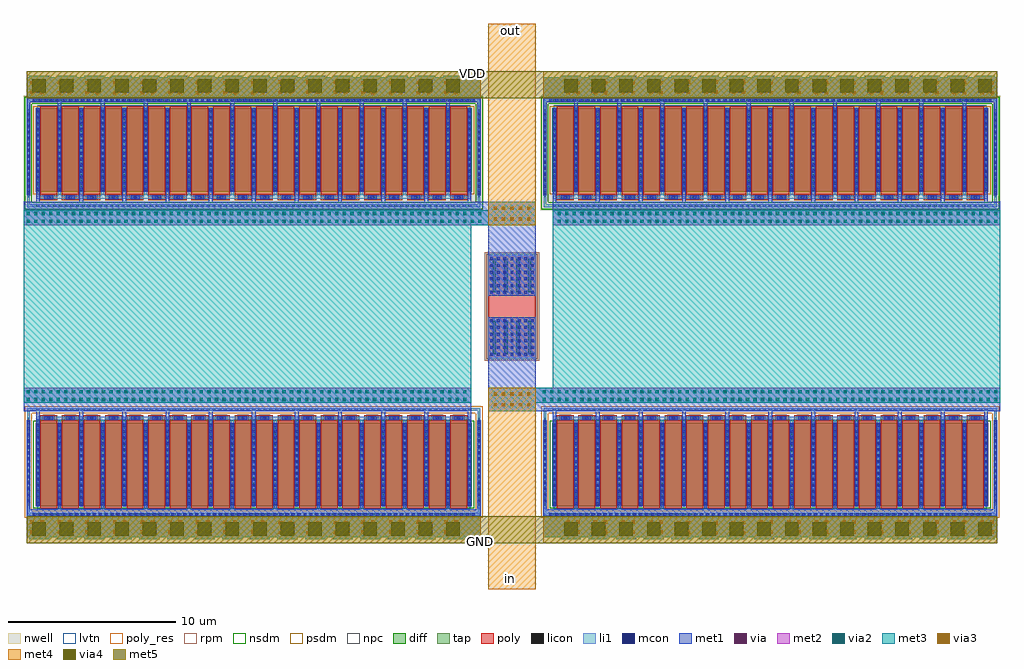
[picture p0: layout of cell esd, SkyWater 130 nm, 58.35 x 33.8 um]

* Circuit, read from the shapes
.subckt esd GND VDD in out
XM1 GND GND out GND sky130_fd_pr__nfet_01v8_lvt w=5 l=1 m=20
XM2 GND GND in GND sky130_fd_pr__nfet_01v8_lvt w=5 l=1 m=20
XM3 VDD VDD out VDD sky130_fd_pr__pfet_01v8_lvt w=5 l=1 m=20
XM4 VDD VDD in VDD sky130_fd_pr__pfet_01v8_lvt w=5 l=1 m=20
XR5 out in GND sky130_fd_pr__res_high_po w=2.85 l=1.3
.ends

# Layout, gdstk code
import gdstk
lib = gdstk.Library(unit=1e-6, precision=1e-09)
def R(c, l, rs):  # rectangles x0, y0, x1, y1
    for r in rs: c.add(gdstk.rectangle(r[:2], r[2:], *l))
def A(c, l, x, y, w, h, nx, ny, dx, dy):  # array of equal rectangles
    R(c, l, [(x+i*dx, y+j*dy, x+i*dx+w, y+j*dy+h) for i in range(nx) for j in range(ny)])
nwell = (64, 20)
diff = (65, 20)
tap = (65, 44)
poly_res = (66, 13)
poly = (66, 20)
licon = (66, 44)
li1 = (67, 20)
mcon = (67, 44)
met1 = (68, 20)
via = (68, 44)
met2 = (69, 20)
via2 = (69, 44)
met3 = (70, 20)
via3 = (70, 44)
met4 = (71, 20)
via4 = (71, 44)
met5 = (72, 20)
rpm = (86, 20)
nsdm = (93, 44)
psdm = (94, 20)
npc = (95, 20)
lvtn = (125, 44)

esd = lib.new_cell('esd')
R(esd, nwell, [(58.15,80,85.62,86.84), (89.03,80,116.5,86.84)])
R(esd, diff, [(58.84,62.305,84.93,67.305), (89.72,62.305,115.81,67.305), (58.84,81.1,84.93,86.1), (89.72,81.1,115.81,86.1)])
R(esd, tap, [(58.33,61.745,85.44,61.915), (89.21,61.745,116.32,61.915), (58.33,61.915,58.5,68.005), (85.27,61.915,85.44,68.005), (89.21,61.915,89.38,68.005), (116.15,61.915,116.32,68.005), (58.33,68.005,85.44,68.175), (89.21,68.005,116.32,68.175), (58.33,80.18,85.44,80.35), (89.21,80.18,116.32,80.35), (58.33,80.35,58.5,86.49), (85.27,80.35,85.44,86.49), (89.21,80.35,89.38,86.49), (116.15,80.35,116.32,86.49), (58.33,86.49,85.44,86.66), (89.21,86.49,116.32,86.66)])
R(esd, poly_res, [(85.9,73.54,88.75,74.96)])
A(esd, poly, 59.13, 62.175, 1, 5.57, 20, 1, 1.29, 0)
A(esd, poly, 90.01, 62.175, 1, 5.57, 20, 1, 1.29, 0)
A(esd, poly, 59.13, 80.615, 1, 5.615, 20, 1, 1.29, 0)
A(esd, poly, 90.01, 80.615, 1, 5.615, 20, 1, 1.29, 0)
R(esd, poly, [(85.9,71.2,88.75,77.3)])
A(esd, licon, 58.88, 61.745, 0.17, 0.17, 77, 2, 0.34, 6.26)
A(esd, licon, 89.76, 61.745, 0.17, 0.17, 77, 2, 0.34, 6.26)
A(esd, licon, 58.33, 62.325, 0.17, 0.17, 1, 16, 0, 0.34)
A(esd, licon, 85.27, 62.325, 0.17, 0.17, 1, 16, 0, 0.34)
A(esd, licon, 89.21, 62.325, 0.17, 0.17, 1, 16, 0, 0.34)
A(esd, licon, 116.15, 62.325, 0.17, 0.17, 1, 16, 0, 0.34)
A(esd, licon, 58.9, 62.51, 0.17, 0.17, 21, 14, 1.29, 0.34)
A(esd, licon, 89.78, 62.51, 0.17, 0.17, 21, 14, 1.29, 0.34)
A(esd, licon, 86.165, 71.4, 0.19, 2, 4, 2, 0.71, 3.7)
A(esd, licon, 58.88, 80.18, 0.17, 0.17, 77, 2, 0.34, 6.31)
A(esd, licon, 89.76, 80.18, 0.17, 0.17, 77, 2, 0.34, 6.31)
A(esd, licon, 58.33, 80.785, 0.17, 0.17, 1, 16, 0, 0.34)
A(esd, licon, 85.27, 80.785, 0.17, 0.17, 1, 16, 0, 0.34)
A(esd, licon, 89.21, 80.785, 0.17, 0.17, 1, 16, 0, 0.34)
A(esd, licon, 116.15, 80.785, 0.17, 0.17, 1, 16, 0, 0.34)
A(esd, licon, 58.9, 81.305, 0.17, 0.17, 21, 14, 1.29, 0.34)
A(esd, licon, 89.78, 81.305, 0.17, 0.17, 21, 14, 1.29, 0.34)
R(esd, licon, [(59.375,67.495,59.545,67.665), (59.715,67.495,59.885,67.665), (60.665,67.495,60.835,67.665), (61.005,67.495,61.175,67.665), (61.955,67.495,62.125,67.665), (62.295,67.495,62.465,67.665), (63.245,67.495,63.415,67.665), (63.585,67.495,63.755,67.665), (64.535,67.495,64.705,67.665), (64.875,67.495,65.045,67.665), (65.825,67.495,65.995,67.665), (66.165,67.495,66.335,67.665), (67.115,67.495,67.285,67.665), (67.455,67.495,67.625,67.665), (68.405,67.495,68.575,67.665), (68.745,67.495,68.915,67.665), (69.695,67.495,69.865,67.665), (70.035,67.495,70.205,67.665), (70.985,67.495,71.155,67.665), (71.325,67.495,71.495,67.665), (72.275,67.495,72.445,67.665), (72.615,67.495,72.785,67.665), (73.565,67.495,73.735,67.665), (73.905,67.495,74.075,67.665), (74.855,67.495,75.025,67.665), (75.195,67.495,75.365,67.665), (76.145,67.495,76.315,67.665), (76.485,67.495,76.655,67.665), (77.435,67.495,77.605,67.665), (77.775,67.495,77.945,67.665), (78.725,67.495,78.895,67.665), (79.065,67.495,79.235,67.665), (80.015,67.495,80.185,67.665), (80.355,67.495,80.525,67.665), (81.305,67.495,81.475,67.665), (81.645,67.495,81.815,67.665), (82.595,67.495,82.765,67.665), (82.935,67.495,83.105,67.665), (83.885,67.495,84.055,67.665), (84.225,67.495,84.395,67.665), (90.255,67.495,90.425,67.665), (90.595,67.495,90.765,67.665), (91.545,67.495,91.715,67.665), (91.885,67.495,92.055,67.665), (92.835,67.495,93.005,67.665), (93.175,67.495,93.345,67.665), (94.125,67.495,94.295,67.665), (94.465,67.495,94.635,67.665), (95.415,67.495,95.585,67.665), (95.755,67.495,95.925,67.665), (96.705,67.495,96.875,67.665), (97.045,67.495,97.215,67.665), (97.995,67.495,98.165,67.665), (98.335,67.495,98.505,67.665), (99.285,67.495,99.455,67.665), (99.625,67.495,99.795,67.665), (100.575,67.495,100.745,67.665), (100.915,67.495,101.085,67.665), (101.865,67.495,102.035,67.665), (102.205,67.495,102.375,67.665), (103.155,67.495,103.325,67.665), (103.495,67.495,103.665,67.665), (104.445,67.495,104.615,67.665), (104.785,67.495,104.955,67.665), (105.735,67.495,105.905,67.665), (106.075,67.495,106.245,67.665), (107.025,67.495,107.195,67.665), (107.365,67.495,107.535,67.665), (108.315,67.495,108.485,67.665), (108.655,67.495,108.825,67.665), (109.605,67.495,109.775,67.665), (109.945,67.495,110.115,67.665), (110.895,67.495,111.065,67.665), (111.235,67.495,111.405,67.665), (112.185,67.495,112.355,67.665), (112.525,67.495,112.695,67.665), (113.475,67.495,113.645,67.665), (113.815,67.495,113.985,67.665), (114.765,67.495,114.935,67.665), (115.105,67.495,115.275,67.665), (59.375,80.695,59.545,80.865), (59.715,80.695,59.885,80.865), (60.665,80.695,60.835,80.865), (61.005,80.695,61.175,80.865), (61.955,80.695,62.125,80.865), (62.295,80.695,62.465,80.865), (63.245,80.695,63.415,80.865), (63.585,80.695,63.755,80.865), (64.535,80.695,64.705,80.865), (64.875,80.695,65.045,80.865), (65.825,80.695,65.995,80.865), (66.165,80.695,66.335,80.865), (67.115,80.695,67.285,80.865), (67.455,80.695,67.625,80.865), (68.405,80.695,68.575,80.865), (68.745,80.695,68.915,80.865), (69.695,80.695,69.865,80.865), (70.035,80.695,70.205,80.865), (70.985,80.695,71.155,80.865), (71.325,80.695,71.495,80.865), (72.275,80.695,72.445,80.865), (72.615,80.695,72.785,80.865), (73.565,80.695,73.735,80.865), (73.905,80.695,74.075,80.865), (74.855,80.695,75.025,80.865), (75.195,80.695,75.365,80.865), (76.145,80.695,76.315,80.865), (76.485,80.695,76.655,80.865), (77.435,80.695,77.605,80.865), (77.775,80.695,77.945,80.865), (78.725,80.695,78.895,80.865), (79.065,80.695,79.235,80.865), (80.015,80.695,80.185,80.865), (80.355,80.695,80.525,80.865), (81.305,80.695,81.475,80.865), (81.645,80.695,81.815,80.865), (82.595,80.695,82.765,80.865), (82.935,80.695,83.105,80.865), (83.885,80.695,84.055,80.865), (84.225,80.695,84.395,80.865), (90.255,80.695,90.425,80.865), (90.595,80.695,90.765,80.865), (91.545,80.695,91.715,80.865), (91.885,80.695,92.055,80.865), (92.835,80.695,93.005,80.865), (93.175,80.695,93.345,80.865), (94.125,80.695,94.295,80.865), (94.465,80.695,94.635,80.865), (95.415,80.695,95.585,80.865), (95.755,80.695,95.925,80.865), (96.705,80.695,96.875,80.865), (97.045,80.695,97.215,80.865), (97.995,80.695,98.165,80.865), (98.335,80.695,98.505,80.865), (99.285,80.695,99.455,80.865), (99.625,80.695,99.795,80.865), (100.575,80.695,100.745,80.865), (100.915,80.695,101.085,80.865), (101.865,80.695,102.035,80.865), (102.205,80.695,102.375,80.865), (103.155,80.695,103.325,80.865), (103.495,80.695,103.665,80.865), (104.445,80.695,104.615,80.865), (104.785,80.695,104.955,80.865), (105.735,80.695,105.905,80.865), (106.075,80.695,106.245,80.865), (107.025,80.695,107.195,80.865), (107.365,80.695,107.535,80.865), (108.315,80.695,108.485,80.865), (108.655,80.695,108.825,80.865), (109.605,80.695,109.775,80.865), (109.945,80.695,110.115,80.865), (110.895,80.695,111.065,80.865), (111.235,80.695,111.405,80.865), (112.185,80.695,112.355,80.865), (112.525,80.695,112.695,80.865), (113.475,80.695,113.645,80.865), (113.815,80.695,113.985,80.865), (114.765,80.695,114.935,80.865), (115.105,80.695,115.275,80.865)])
A(esd, li1, 58.9, 62.285, 0.17, 5.04, 11, 2, 2.58, 18.795)
A(esd, li1, 60.19, 62.285, 0.17, 5.21, 10, 1, 2.58, 0)
A(esd, li1, 89.78, 62.285, 0.17, 5.04, 11, 2, 2.58, 18.795)
A(esd, li1, 91.07, 62.285, 0.17, 5.21, 10, 1, 2.58, 0)
A(esd, li1, 60.19, 80.865, 0.17, 5.255, 10, 1, 2.58, 0)
A(esd, li1, 91.07, 80.865, 0.17, 5.255, 10, 1, 2.58, 0)
R(esd, li1, [(58.33,61.745,85.44,61.915), (89.21,61.745,116.32,61.915), (58.33,61.915,58.5,68.005), (85.27,61.915,85.44,68.005), (89.21,61.915,89.38,68.005), (116.15,61.915,116.32,68.005), (58.89,67.495,84.875,67.665), (89.775,67.495,115.76,67.665), (58.33,68.005,85.44,68.175), (89.21,68.005,116.32,68.175), (85.9,71.2,88.75,73.6), (85.9,74.9,88.75,77.3), (58.33,80.18,85.44,80.35), (89.21,80.18,116.32,80.35), (58.33,80.35,58.5,86.49), (85.27,80.35,85.44,86.49), (89.21,80.35,89.38,86.49), (116.15,80.35,116.32,86.49), (58.9,80.695,84.87,80.865), (89.78,80.695,115.75,80.865), (58.33,86.49,85.44,86.66), (89.21,86.49,116.32,86.66)])
A(esd, mcon, 58.66, 61.745, 0.17, 0.17, 74, 2, 0.36, 24.745)
A(esd, mcon, 89.54, 61.745, 0.17, 0.17, 74, 2, 0.36, 24.745)
A(esd, mcon, 58.9, 62.38, 0.17, 0.17, 21, 14, 1.29, 0.36)
A(esd, mcon, 89.78, 62.38, 0.17, 0.17, 21, 14, 1.29, 0.36)
A(esd, mcon, 58.33, 62.535, 0.17, 0.17, 1, 14, 0, 0.36)
A(esd, mcon, 85.27, 62.535, 0.17, 0.17, 1, 14, 0, 0.36)
A(esd, mcon, 89.21, 62.535, 0.17, 0.17, 1, 14, 0, 0.36)
A(esd, mcon, 116.15, 62.535, 0.17, 0.17, 1, 14, 0, 0.36)
A(esd, mcon, 59.545, 67.495, 0.17, 0.17, 20, 2, 1.29, 13.2)
A(esd, mcon, 90.425, 67.495, 0.17, 0.17, 20, 2, 1.29, 13.2)
A(esd, mcon, 86.015, 71.315, 0.17, 0.17, 3, 6, 0.4, 0.4)
A(esd, mcon, 87.24, 71.315, 0.17, 0.17, 1, 6, 0, 0.4)
A(esd, mcon, 87.665, 71.315, 0.17, 0.17, 3, 6, 0.4, 0.4)
A(esd, mcon, 86.015, 75.015, 0.17, 0.17, 3, 6, 0.4, 0.4)
A(esd, mcon, 87.24, 75.015, 0.17, 0.17, 1, 6, 0, 0.4)
A(esd, mcon, 87.665, 75.015, 0.17, 0.17, 3, 6, 0.4, 0.4)
A(esd, mcon, 58.33, 80.995, 0.17, 0.17, 1, 14, 0, 0.36)
A(esd, mcon, 85.27, 80.995, 0.17, 0.17, 1, 14, 0, 0.36)
A(esd, mcon, 89.21, 80.995, 0.17, 0.17, 1, 14, 0, 0.36)
A(esd, mcon, 116.15, 80.995, 0.17, 0.17, 1, 14, 0, 0.36)
A(esd, mcon, 58.9, 81.175, 0.17, 0.17, 21, 14, 1.29, 0.36)
A(esd, mcon, 89.78, 81.175, 0.17, 0.17, 21, 14, 1.29, 0.36)
A(esd, met1, 58.45, 60.35, 1.2, 0.1, 16, 2, 1.65, 27.6)
A(esd, met1, 90.25, 60.35, 1.2, 0.1, 16, 2, 1.65, 27.6)
A(esd, met1, 60.19, 62.115, 0.17, 0.19, 10, 1, 2.58, 0)
A(esd, met1, 91.07, 62.115, 0.17, 0.19, 10, 1, 2.58, 0)
A(esd, met1, 58.87, 62.305, 0.23, 5.695, 11, 1, 2.58, 0)
A(esd, met1, 60.16, 62.305, 0.23, 5, 10, 1, 2.58, 0)
A(esd, met1, 89.75, 62.305, 0.23, 5.695, 11, 1, 2.58, 0)
A(esd, met1, 91.04, 62.305, 0.23, 5, 10, 1, 2.58, 0)
A(esd, met1, 59.36, 67.465, 0.54, 0.23, 20, 2, 1.29, 13.2)
A(esd, met1, 90.24, 67.465, 0.54, 0.23, 20, 2, 1.29, 13.2)
A(esd, met1, 58.87, 80.5, 0.23, 5.6, 11, 1, 2.58, 0)
A(esd, met1, 89.75, 80.5, 0.23, 5.6, 11, 1, 2.58, 0)
A(esd, met1, 60.16, 81.1, 0.23, 5.36, 10, 1, 2.58, 0)
A(esd, met1, 91.04, 81.1, 0.23, 5.36, 10, 1, 2.58, 0)
R(esd, met1, [(58.3,60.45,85.45,60.65), (89.2,60.45,116.35,60.65), (58.3,60.65,85.47,62.115), (89.18,60.65,116.35,62.115), (58.3,62.115,58.53,67.455), (85.24,62.115,85.47,67.455), (89.18,62.115,89.41,67.455), (116.12,62.115,116.35,67.455), (58.15,68,84.9,69.4), (85.9,68,116.5,69.4), (85.9,69.4,88.75,73.6), (85.9,74.9,88.75,79.1), (58.15,79.1,88.75,80.5), (89.75,79.1,116.5,80.5), (58.3,80.905,58.53,86.46), (85.24,80.905,85.47,86.46), (89.18,80.905,89.41,86.46), (116.12,80.905,116.35,86.46), (58.3,86.46,85.47,87.95), (89.18,86.46,116.35,87.95)])
A(esd, via, 86.25, 68.3, 0.15, 0.15, 5, 2, 0.5, 0.65)
A(esd, via, 58.325, 68.625, 0.15, 0.15, 59, 2, 0.45, 0.45)
A(esd, via, 89.175, 68.625, 0.15, 0.15, 61, 2, 0.45, 0.45)
A(esd, via, 58.325, 79.275, 0.15, 0.15, 61, 2, 0.45, 0.45)
A(esd, via, 90.075, 79.275, 0.15, 0.15, 59, 2, 0.45, 0.45)
A(esd, via, 86.25, 79.4, 0.15, 0.15, 5, 2, 0.5, 0.65)
R(esd, via, [(73.4,60.65,73.55,60.8), (74,60.65,74.15,60.8), (75.05,60.65,75.2,60.8), (75.65,60.65,75.8,60.8), (76.7,60.65,76.85,60.8), (77.3,60.65,77.45,60.8), (97.2,60.65,97.35,60.8), (97.8,60.65,97.95,60.8), (98.85,60.65,99,60.8), (99.45,60.65,99.6,60.8), (100.5,60.65,100.65,60.8), (101.1,60.65,101.25,60.8), (58.55,60.7,58.7,60.85), (59.15,60.7,59.3,60.85), (60.2,60.7,60.35,60.85), (60.8,60.7,60.95,60.85), (61.85,60.7,62,60.85), (62.45,60.7,62.6,60.85), (63.5,60.7,63.65,60.85), (64.1,60.7,64.25,60.85), (65.15,60.7,65.3,60.85), (65.75,60.7,65.9,60.85), (66.8,60.7,66.95,60.85), (67.4,60.7,67.55,60.85), (68.45,60.7,68.6,60.85), (69.05,60.7,69.2,60.85), (70.1,60.7,70.25,60.85), (70.7,60.7,70.85,60.85), (71.75,60.7,71.9,60.85), (72.35,60.7,72.5,60.85), (78.35,60.7,78.5,60.85), (78.95,60.7,79.1,60.85), (80,60.7,80.15,60.85), (80.6,60.7,80.75,60.85), (81.65,60.7,81.8,60.85), (82.25,60.7,82.4,60.85), (83.3,60.7,83.45,60.85), (83.9,60.7,84.05,60.85), (90.6,60.7,90.75,60.85), (91.2,60.7,91.35,60.85), (92.25,60.7,92.4,60.85), (92.85,60.7,93,60.85), (93.9,60.7,94.05,60.85), (94.5,60.7,94.65,60.85), (95.55,60.7,95.7,60.85), (96.15,60.7,96.3,60.85), (102.15,60.7,102.3,60.85), (102.75,60.7,102.9,60.85), (103.8,60.7,103.95,60.85), (104.4,60.7,104.55,60.85), (105.45,60.7,105.6,60.85), (106.05,60.7,106.2,60.85), (107.1,60.7,107.25,60.85), (107.7,60.7,107.85,60.85), (108.75,60.7,108.9,60.85), (109.35,60.7,109.5,60.85), (110.4,60.7,110.55,60.85), (111,60.7,111.15,60.85), (112.05,60.7,112.2,60.85), (112.65,60.7,112.8,60.85), (113.7,60.7,113.85,60.85), (114.3,60.7,114.45,60.85), (115.35,60.7,115.5,60.85), (115.95,60.7,116.1,60.85), (73.4,61.25,73.55,61.4), (74,61.25,74.15,61.4), (75.05,61.25,75.2,61.4), (75.65,61.25,75.8,61.4), (76.7,61.25,76.85,61.4), (77.3,61.25,77.45,61.4), (97.2,61.25,97.35,61.4), (97.8,61.25,97.95,61.4), (98.85,61.25,99,61.4), (99.45,61.25,99.6,61.4), (100.5,61.25,100.65,61.4), (101.1,61.25,101.25,61.4), (58.55,61.3,58.7,61.45), (59.15,61.3,59.3,61.45), (60.2,61.3,60.35,61.45), (60.8,61.3,60.95,61.45), (61.85,61.3,62,61.45), (62.45,61.3,62.6,61.45), (63.5,61.3,63.65,61.45), (64.1,61.3,64.25,61.45), (65.15,61.3,65.3,61.45), (65.75,61.3,65.9,61.45), (66.8,61.3,66.95,61.45), (67.4,61.3,67.55,61.45), (68.45,61.3,68.6,61.45), (69.05,61.3,69.2,61.45), (70.1,61.3,70.25,61.45), (70.7,61.3,70.85,61.45), (71.75,61.3,71.9,61.45), (72.35,61.3,72.5,61.45), (78.35,61.3,78.5,61.45), (78.95,61.3,79.1,61.45), (80,61.3,80.15,61.45), (80.6,61.3,80.75,61.45), (81.65,61.3,81.8,61.45), (82.25,61.3,82.4,61.45), (83.3,61.3,83.45,61.45), (83.9,61.3,84.05,61.45), (90.6,61.3,90.75,61.45), (91.2,61.3,91.35,61.45), (92.25,61.3,92.4,61.45), (92.85,61.3,93,61.45), (93.9,61.3,94.05,61.45), (94.5,61.3,94.65,61.45), (95.55,61.3,95.7,61.45), (96.15,61.3,96.3,61.45), (102.15,61.3,102.3,61.45), (102.75,61.3,102.9,61.45), (103.8,61.3,103.95,61.45), (104.4,61.3,104.55,61.45), (105.45,61.3,105.6,61.45), (106.05,61.3,106.2,61.45), (107.1,61.3,107.25,61.45), (107.7,61.3,107.85,61.45), (108.75,61.3,108.9,61.45), (109.35,61.3,109.5,61.45), (110.4,61.3,110.55,61.45), (111,61.3,111.15,61.45), (112.05,61.3,112.2,61.45), (112.65,61.3,112.8,61.45), (113.7,61.3,113.85,61.45), (114.3,61.3,114.45,61.45), (115.35,61.3,115.5,61.45), (115.95,61.3,116.1,61.45), (58.55,86.95,58.7,87.1), (59.15,86.95,59.3,87.1), (60.2,86.95,60.35,87.1), (60.8,86.95,60.95,87.1), (61.85,86.95,62,87.1), (62.45,86.95,62.6,87.1), (63.5,86.95,63.65,87.1), (64.1,86.95,64.25,87.1), (65.15,86.95,65.3,87.1), (65.75,86.95,65.9,87.1), (66.8,86.95,66.95,87.1), (67.4,86.95,67.55,87.1), (68.45,86.95,68.6,87.1), (69.05,86.95,69.2,87.1), (70.1,86.95,70.25,87.1), (70.7,86.95,70.85,87.1), (71.75,86.95,71.9,87.1), (72.35,86.95,72.5,87.1), (78.35,86.95,78.5,87.1), (78.95,86.95,79.1,87.1), (80,86.95,80.15,87.1), (80.6,86.95,80.75,87.1), (81.65,86.95,81.8,87.1), (82.25,86.95,82.4,87.1), (83.3,86.95,83.45,87.1), (83.9,86.95,84.05,87.1), (90.6,86.95,90.75,87.1), (91.2,86.95,91.35,87.1), (92.25,86.95,92.4,87.1), (92.85,86.95,93,87.1), (93.9,86.95,94.05,87.1), (94.5,86.95,94.65,87.1), (95.55,86.95,95.7,87.1), (96.15,86.95,96.3,87.1), (102.15,86.95,102.3,87.1), (102.75,86.95,102.9,87.1), (103.8,86.95,103.95,87.1), (104.4,86.95,104.55,87.1), (105.45,86.95,105.6,87.1), (106.05,86.95,106.2,87.1), (107.1,86.95,107.25,87.1), (107.7,86.95,107.85,87.1), (108.75,86.95,108.9,87.1), (109.35,86.95,109.5,87.1), (110.4,86.95,110.55,87.1), (111,86.95,111.15,87.1), (112.05,86.95,112.2,87.1), (112.65,86.95,112.8,87.1), (113.7,86.95,113.85,87.1), (114.3,86.95,114.45,87.1), (115.35,86.95,115.5,87.1), (115.95,86.95,116.1,87.1), (73.4,87,73.55,87.15), (74,87,74.15,87.15), (75.05,87,75.2,87.15), (75.65,87,75.8,87.15), (76.7,87,76.85,87.15), (77.3,87,77.45,87.15), (97.2,87,97.35,87.15), (97.8,87,97.95,87.15), (98.85,87,99,87.15), (99.45,87,99.6,87.15), (100.5,87,100.65,87.15), (101.1,87,101.25,87.15), (58.55,87.55,58.7,87.7), (59.15,87.55,59.3,87.7), (60.2,87.55,60.35,87.7), (60.8,87.55,60.95,87.7), (61.85,87.55,62,87.7), (62.45,87.55,62.6,87.7), (63.5,87.55,63.65,87.7), (64.1,87.55,64.25,87.7), (65.15,87.55,65.3,87.7), (65.75,87.55,65.9,87.7), (66.8,87.55,66.95,87.7), (67.4,87.55,67.55,87.7), (68.45,87.55,68.6,87.7), (69.05,87.55,69.2,87.7), (70.1,87.55,70.25,87.7), (70.7,87.55,70.85,87.7), (71.75,87.55,71.9,87.7), (72.35,87.55,72.5,87.7), (78.35,87.55,78.5,87.7), (78.95,87.55,79.1,87.7), (80,87.55,80.15,87.7), (80.6,87.55,80.75,87.7), (81.65,87.55,81.8,87.7), (82.25,87.55,82.4,87.7), (83.3,87.55,83.45,87.7), (83.9,87.55,84.05,87.7), (90.6,87.55,90.75,87.7), (91.2,87.55,91.35,87.7), (92.25,87.55,92.4,87.7), (92.85,87.55,93,87.7), (93.9,87.55,94.05,87.7), (94.5,87.55,94.65,87.7), (95.55,87.55,95.7,87.7), (96.15,87.55,96.3,87.7), (102.15,87.55,102.3,87.7), (102.75,87.55,102.9,87.7), (103.8,87.55,103.95,87.7), (104.4,87.55,104.55,87.7), (105.45,87.55,105.6,87.7), (106.05,87.55,106.2,87.7), (107.1,87.55,107.25,87.7), (107.7,87.55,107.85,87.7), (108.75,87.55,108.9,87.7), (109.35,87.55,109.5,87.7), (110.4,87.55,110.55,87.7), (111,87.55,111.15,87.7), (112.05,87.55,112.2,87.7), (112.65,87.55,112.8,87.7), (113.7,87.55,113.85,87.7), (114.3,87.55,114.45,87.7), (115.35,87.55,115.5,87.7), (115.95,87.55,116.1,87.7), (73.4,87.6,73.55,87.75), (74,87.6,74.15,87.75), (75.05,87.6,75.2,87.75), (75.65,87.6,75.8,87.75), (76.7,87.6,76.85,87.75), (77.3,87.6,77.45,87.75), (97.2,87.6,97.35,87.75), (97.8,87.6,97.95,87.75), (98.85,87.6,99,87.75), (99.45,87.6,99.6,87.75), (100.5,87.6,100.65,87.75), (101.1,87.6,101.25,87.75)])
A(esd, met2, 58.45, 60.35, 1.2, 0.1, 16, 2, 1.65, 27.6)
A(esd, met2, 90.25, 60.35, 1.2, 0.1, 16, 2, 1.65, 27.6)
R(esd, met2, [(58.3,60.45,85.45,61.7), (89.2,60.45,116.35,61.7), (85.9,68,88.75,68.5), (58.15,68.5,84.9,69.4), (85.9,68.5,116.5,69.4), (58.15,79.1,88.75,80), (89.75,79.1,116.5,80), (85.9,80,88.75,80.5), (58.3,86.7,85.45,87.95), (89.2,86.7,116.35,87.95)])
A(esd, via2, 86.225, 68.275, 0.2, 0.2, 5, 2, 0.5, 0.65)
A(esd, via2, 58.3, 68.6, 0.2, 0.2, 59, 2, 0.45, 0.45)
A(esd, via2, 89.15, 68.6, 0.2, 0.2, 61, 2, 0.45, 0.45)
A(esd, via2, 58.3, 79.25, 0.2, 0.2, 61, 2, 0.45, 0.45)
A(esd, via2, 90.05, 79.25, 0.2, 0.2, 59, 2, 0.45, 0.45)
A(esd, via2, 86.225, 79.375, 0.2, 0.2, 5, 2, 0.5, 0.65)
R(esd, via2, [(73.375,60.625,73.575,60.825), (73.975,60.625,74.175,60.825), (75.025,60.625,75.225,60.825), (75.625,60.625,75.825,60.825), (76.675,60.625,76.875,60.825), (77.275,60.625,77.475,60.825), (97.175,60.625,97.375,60.825), (97.775,60.625,97.975,60.825), (98.825,60.625,99.025,60.825), (99.425,60.625,99.625,60.825), (100.475,60.625,100.675,60.825), (101.075,60.625,101.275,60.825), (58.525,60.675,58.725,60.875), (59.125,60.675,59.325,60.875), (60.175,60.675,60.375,60.875), (60.775,60.675,60.975,60.875), (61.825,60.675,62.025,60.875), (62.425,60.675,62.625,60.875), (63.475,60.675,63.675,60.875), (64.075,60.675,64.275,60.875), (65.125,60.675,65.325,60.875), (65.725,60.675,65.925,60.875), (66.775,60.675,66.975,60.875), (67.375,60.675,67.575,60.875), (68.425,60.675,68.625,60.875), (69.025,60.675,69.225,60.875), (70.075,60.675,70.275,60.875), (70.675,60.675,70.875,60.875), (71.725,60.675,71.925,60.875), (72.325,60.675,72.525,60.875), (78.325,60.675,78.525,60.875), (78.925,60.675,79.125,60.875), (79.975,60.675,80.175,60.875), (80.575,60.675,80.775,60.875), (81.625,60.675,81.825,60.875), (82.225,60.675,82.425,60.875), (83.275,60.675,83.475,60.875), (83.875,60.675,84.075,60.875), (90.575,60.675,90.775,60.875), (91.175,60.675,91.375,60.875), (92.225,60.675,92.425,60.875), (92.825,60.675,93.025,60.875), (93.875,60.675,94.075,60.875), (94.475,60.675,94.675,60.875), (95.525,60.675,95.725,60.875), (96.125,60.675,96.325,60.875), (102.125,60.675,102.325,60.875), (102.725,60.675,102.925,60.875), (103.775,60.675,103.975,60.875), (104.375,60.675,104.575,60.875), (105.425,60.675,105.625,60.875), (106.025,60.675,106.225,60.875), (107.075,60.675,107.275,60.875), (107.675,60.675,107.875,60.875), (108.725,60.675,108.925,60.875), (109.325,60.675,109.525,60.875), (110.375,60.675,110.575,60.875), (110.975,60.675,111.175,60.875), (112.025,60.675,112.225,60.875), (112.625,60.675,112.825,60.875), (113.675,60.675,113.875,60.875), (114.275,60.675,114.475,60.875), (115.325,60.675,115.525,60.875), (115.925,60.675,116.125,60.875), (73.375,61.225,73.575,61.425), (73.975,61.225,74.175,61.425), (75.025,61.225,75.225,61.425), (75.625,61.225,75.825,61.425), (76.675,61.225,76.875,61.425), (77.275,61.225,77.475,61.425), (97.175,61.225,97.375,61.425), (97.775,61.225,97.975,61.425), (98.825,61.225,99.025,61.425), (99.425,61.225,99.625,61.425), (100.475,61.225,100.675,61.425), (101.075,61.225,101.275,61.425), (58.525,61.275,58.725,61.475), (59.125,61.275,59.325,61.475), (60.175,61.275,60.375,61.475), (60.775,61.275,60.975,61.475), (61.825,61.275,62.025,61.475), (62.425,61.275,62.625,61.475), (63.475,61.275,63.675,61.475), (64.075,61.275,64.275,61.475), (65.125,61.275,65.325,61.475), (65.725,61.275,65.925,61.475), (66.775,61.275,66.975,61.475), (67.375,61.275,67.575,61.475), (68.425,61.275,68.625,61.475), (69.025,61.275,69.225,61.475), (70.075,61.275,70.275,61.475), (70.675,61.275,70.875,61.475), (71.725,61.275,71.925,61.475), (72.325,61.275,72.525,61.475), (78.325,61.275,78.525,61.475), (78.925,61.275,79.125,61.475), (79.975,61.275,80.175,61.475), (80.575,61.275,80.775,61.475), (81.625,61.275,81.825,61.475), (82.225,61.275,82.425,61.475), (83.275,61.275,83.475,61.475), (83.875,61.275,84.075,61.475), (90.575,61.275,90.775,61.475), (91.175,61.275,91.375,61.475), (92.225,61.275,92.425,61.475), (92.825,61.275,93.025,61.475), (93.875,61.275,94.075,61.475), (94.475,61.275,94.675,61.475), (95.525,61.275,95.725,61.475), (96.125,61.275,96.325,61.475), (102.125,61.275,102.325,61.475), (102.725,61.275,102.925,61.475), (103.775,61.275,103.975,61.475), (104.375,61.275,104.575,61.475), (105.425,61.275,105.625,61.475), (106.025,61.275,106.225,61.475), (107.075,61.275,107.275,61.475), (107.675,61.275,107.875,61.475), (108.725,61.275,108.925,61.475), (109.325,61.275,109.525,61.475), (110.375,61.275,110.575,61.475), (110.975,61.275,111.175,61.475), (112.025,61.275,112.225,61.475), (112.625,61.275,112.825,61.475), (113.675,61.275,113.875,61.475), (114.275,61.275,114.475,61.475), (115.325,61.275,115.525,61.475), (115.925,61.275,116.125,61.475), (58.525,86.925,58.725,87.125), (59.125,86.925,59.325,87.125), (60.175,86.925,60.375,87.125), (60.775,86.925,60.975,87.125), (61.825,86.925,62.025,87.125), (62.425,86.925,62.625,87.125), (63.475,86.925,63.675,87.125), (64.075,86.925,64.275,87.125), (65.125,86.925,65.325,87.125), (65.725,86.925,65.925,87.125), (66.775,86.925,66.975,87.125), (67.375,86.925,67.575,87.125), (68.425,86.925,68.625,87.125), (69.025,86.925,69.225,87.125), (70.075,86.925,70.275,87.125), (70.675,86.925,70.875,87.125), (71.725,86.925,71.925,87.125), (72.325,86.925,72.525,87.125), (78.325,86.925,78.525,87.125), (78.925,86.925,79.125,87.125), (79.975,86.925,80.175,87.125), (80.575,86.925,80.775,87.125), (81.625,86.925,81.825,87.125), (82.225,86.925,82.425,87.125), (83.275,86.925,83.475,87.125), (83.875,86.925,84.075,87.125), (90.575,86.925,90.775,87.125), (91.175,86.925,91.375,87.125), (92.225,86.925,92.425,87.125), (92.825,86.925,93.025,87.125), (93.875,86.925,94.075,87.125), (94.475,86.925,94.675,87.125), (95.525,86.925,95.725,87.125), (96.125,86.925,96.325,87.125), (102.125,86.925,102.325,87.125), (102.725,86.925,102.925,87.125), (103.775,86.925,103.975,87.125), (104.375,86.925,104.575,87.125), (105.425,86.925,105.625,87.125), (106.025,86.925,106.225,87.125), (107.075,86.925,107.275,87.125), (107.675,86.925,107.875,87.125), (108.725,86.925,108.925,87.125), (109.325,86.925,109.525,87.125), (110.375,86.925,110.575,87.125), (110.975,86.925,111.175,87.125), (112.025,86.925,112.225,87.125), (112.625,86.925,112.825,87.125), (113.675,86.925,113.875,87.125), (114.275,86.925,114.475,87.125), (115.325,86.925,115.525,87.125), (115.925,86.925,116.125,87.125), (73.375,86.975,73.575,87.175), (73.975,86.975,74.175,87.175), (75.025,86.975,75.225,87.175), (75.625,86.975,75.825,87.175), (76.675,86.975,76.875,87.175), (77.275,86.975,77.475,87.175), (97.175,86.975,97.375,87.175), (97.775,86.975,97.975,87.175), (98.825,86.975,99.025,87.175), (99.425,86.975,99.625,87.175), (100.475,86.975,100.675,87.175), (101.075,86.975,101.275,87.175), (58.525,87.525,58.725,87.725), (59.125,87.525,59.325,87.725), (60.175,87.525,60.375,87.725), (60.775,87.525,60.975,87.725), (61.825,87.525,62.025,87.725), (62.425,87.525,62.625,87.725), (63.475,87.525,63.675,87.725), (64.075,87.525,64.275,87.725), (65.125,87.525,65.325,87.725), (65.725,87.525,65.925,87.725), (66.775,87.525,66.975,87.725), (67.375,87.525,67.575,87.725), (68.425,87.525,68.625,87.725), (69.025,87.525,69.225,87.725), (70.075,87.525,70.275,87.725), (70.675,87.525,70.875,87.725), (71.725,87.525,71.925,87.725), (72.325,87.525,72.525,87.725), (78.325,87.525,78.525,87.725), (78.925,87.525,79.125,87.725), (79.975,87.525,80.175,87.725), (80.575,87.525,80.775,87.725), (81.625,87.525,81.825,87.725), (82.225,87.525,82.425,87.725), (83.275,87.525,83.475,87.725), (83.875,87.525,84.075,87.725), (90.575,87.525,90.775,87.725), (91.175,87.525,91.375,87.725), (92.225,87.525,92.425,87.725), (92.825,87.525,93.025,87.725), (93.875,87.525,94.075,87.725), (94.475,87.525,94.675,87.725), (95.525,87.525,95.725,87.725), (96.125,87.525,96.325,87.725), (102.125,87.525,102.325,87.725), (102.725,87.525,102.925,87.725), (103.775,87.525,103.975,87.725), (104.375,87.525,104.575,87.725), (105.425,87.525,105.625,87.725), (106.025,87.525,106.225,87.725), (107.075,87.525,107.275,87.725), (107.675,87.525,107.875,87.725), (108.725,87.525,108.925,87.725), (109.325,87.525,109.525,87.725), (110.375,87.525,110.575,87.725), (110.975,87.525,111.175,87.725), (112.025,87.525,112.225,87.725), (112.625,87.525,112.825,87.725), (113.675,87.525,113.875,87.725), (114.275,87.525,114.475,87.725), (115.325,87.525,115.525,87.725), (115.925,87.525,116.125,87.725), (73.375,87.575,73.575,87.775), (73.975,87.575,74.175,87.775), (75.025,87.575,75.225,87.775), (75.625,87.575,75.825,87.775), (76.675,87.575,76.875,87.775), (77.275,87.575,77.475,87.775), (97.175,87.575,97.375,87.775), (97.775,87.575,97.975,87.775), (98.825,87.575,99.025,87.775), (99.425,87.575,99.625,87.775), (100.475,87.575,100.675,87.775), (101.075,87.575,101.275,87.775)])
A(esd, met3, 58.45, 60.35, 1.2, 0.1, 16, 2, 1.65, 27.6)
A(esd, met3, 90.25, 60.35, 1.2, 0.1, 16, 2, 1.65, 27.6)
R(esd, met3, [(58.3,60.45,85.45,61.7), (89.2,60.45,116.35,61.7), (85.9,68,88.75,68.5), (58.15,68.5,84.9,79.1), (85.9,68.5,116.5,69.4), (89.75,69.4,116.5,80), (58.15,79.1,88.75,80), (85.9,80,88.75,80.5), (58.3,86.7,85.45,87.95), (89.2,86.7,116.35,87.95)])
A(esd, via3, 86.225, 68.275, 0.2, 0.2, 5, 2, 0.5, 0.65)
A(esd, via3, 86.225, 79.375, 0.2, 0.2, 5, 2, 0.5, 0.65)
R(esd, via3, [(73.375,60.625,73.575,60.825), (73.975,60.625,74.175,60.825), (75.025,60.625,75.225,60.825), (75.625,60.625,75.825,60.825), (76.675,60.625,76.875,60.825), (77.275,60.625,77.475,60.825), (97.175,60.625,97.375,60.825), (97.775,60.625,97.975,60.825), (98.825,60.625,99.025,60.825), (99.425,60.625,99.625,60.825), (100.475,60.625,100.675,60.825), (101.075,60.625,101.275,60.825), (58.525,60.675,58.725,60.875), (59.125,60.675,59.325,60.875), (60.175,60.675,60.375,60.875), (60.775,60.675,60.975,60.875), (61.825,60.675,62.025,60.875), (62.425,60.675,62.625,60.875), (63.475,60.675,63.675,60.875), (64.075,60.675,64.275,60.875), (65.125,60.675,65.325,60.875), (65.725,60.675,65.925,60.875), (66.775,60.675,66.975,60.875), (67.375,60.675,67.575,60.875), (68.425,60.675,68.625,60.875), (69.025,60.675,69.225,60.875), (70.075,60.675,70.275,60.875), (70.675,60.675,70.875,60.875), (71.725,60.675,71.925,60.875), (72.325,60.675,72.525,60.875), (78.325,60.675,78.525,60.875), (78.925,60.675,79.125,60.875), (79.975,60.675,80.175,60.875), (80.575,60.675,80.775,60.875), (81.625,60.675,81.825,60.875), (82.225,60.675,82.425,60.875), (83.275,60.675,83.475,60.875), (83.875,60.675,84.075,60.875), (90.575,60.675,90.775,60.875), (91.175,60.675,91.375,60.875), (92.225,60.675,92.425,60.875), (92.825,60.675,93.025,60.875), (93.875,60.675,94.075,60.875), (94.475,60.675,94.675,60.875), (95.525,60.675,95.725,60.875), (96.125,60.675,96.325,60.875), (102.125,60.675,102.325,60.875), (102.725,60.675,102.925,60.875), (103.775,60.675,103.975,60.875), (104.375,60.675,104.575,60.875), (105.425,60.675,105.625,60.875), (106.025,60.675,106.225,60.875), (107.075,60.675,107.275,60.875), (107.675,60.675,107.875,60.875), (108.725,60.675,108.925,60.875), (109.325,60.675,109.525,60.875), (110.375,60.675,110.575,60.875), (110.975,60.675,111.175,60.875), (112.025,60.675,112.225,60.875), (112.625,60.675,112.825,60.875), (113.675,60.675,113.875,60.875), (114.275,60.675,114.475,60.875), (115.325,60.675,115.525,60.875), (115.925,60.675,116.125,60.875), (73.375,61.225,73.575,61.425), (73.975,61.225,74.175,61.425), (75.025,61.225,75.225,61.425), (75.625,61.225,75.825,61.425), (76.675,61.225,76.875,61.425), (77.275,61.225,77.475,61.425), (97.175,61.225,97.375,61.425), (97.775,61.225,97.975,61.425), (98.825,61.225,99.025,61.425), (99.425,61.225,99.625,61.425), (100.475,61.225,100.675,61.425), (101.075,61.225,101.275,61.425), (58.525,61.275,58.725,61.475), (59.125,61.275,59.325,61.475), (60.175,61.275,60.375,61.475), (60.775,61.275,60.975,61.475), (61.825,61.275,62.025,61.475), (62.425,61.275,62.625,61.475), (63.475,61.275,63.675,61.475), (64.075,61.275,64.275,61.475), (65.125,61.275,65.325,61.475), (65.725,61.275,65.925,61.475), (66.775,61.275,66.975,61.475), (67.375,61.275,67.575,61.475), (68.425,61.275,68.625,61.475), (69.025,61.275,69.225,61.475), (70.075,61.275,70.275,61.475), (70.675,61.275,70.875,61.475), (71.725,61.275,71.925,61.475), (72.325,61.275,72.525,61.475), (78.325,61.275,78.525,61.475), (78.925,61.275,79.125,61.475), (79.975,61.275,80.175,61.475), (80.575,61.275,80.775,61.475), (81.625,61.275,81.825,61.475), (82.225,61.275,82.425,61.475), (83.275,61.275,83.475,61.475), (83.875,61.275,84.075,61.475), (90.575,61.275,90.775,61.475), (91.175,61.275,91.375,61.475), (92.225,61.275,92.425,61.475), (92.825,61.275,93.025,61.475), (93.875,61.275,94.075,61.475), (94.475,61.275,94.675,61.475), (95.525,61.275,95.725,61.475), (96.125,61.275,96.325,61.475), (102.125,61.275,102.325,61.475), (102.725,61.275,102.925,61.475), (103.775,61.275,103.975,61.475), (104.375,61.275,104.575,61.475), (105.425,61.275,105.625,61.475), (106.025,61.275,106.225,61.475), (107.075,61.275,107.275,61.475), (107.675,61.275,107.875,61.475), (108.725,61.275,108.925,61.475), (109.325,61.275,109.525,61.475), (110.375,61.275,110.575,61.475), (110.975,61.275,111.175,61.475), (112.025,61.275,112.225,61.475), (112.625,61.275,112.825,61.475), (113.675,61.275,113.875,61.475), (114.275,61.275,114.475,61.475), (115.325,61.275,115.525,61.475), (115.925,61.275,116.125,61.475), (58.525,86.925,58.725,87.125), (59.125,86.925,59.325,87.125), (60.175,86.925,60.375,87.125), (60.775,86.925,60.975,87.125), (61.825,86.925,62.025,87.125), (62.425,86.925,62.625,87.125), (63.475,86.925,63.675,87.125), (64.075,86.925,64.275,87.125), (65.125,86.925,65.325,87.125), (65.725,86.925,65.925,87.125), (66.775,86.925,66.975,87.125), (67.375,86.925,67.575,87.125), (68.425,86.925,68.625,87.125), (69.025,86.925,69.225,87.125), (70.075,86.925,70.275,87.125), (70.675,86.925,70.875,87.125), (71.725,86.925,71.925,87.125), (72.325,86.925,72.525,87.125), (78.325,86.925,78.525,87.125), (78.925,86.925,79.125,87.125), (79.975,86.925,80.175,87.125), (80.575,86.925,80.775,87.125), (81.625,86.925,81.825,87.125), (82.225,86.925,82.425,87.125), (83.275,86.925,83.475,87.125), (83.875,86.925,84.075,87.125), (90.575,86.925,90.775,87.125), (91.175,86.925,91.375,87.125), (92.225,86.925,92.425,87.125), (92.825,86.925,93.025,87.125), (93.875,86.925,94.075,87.125), (94.475,86.925,94.675,87.125), (95.525,86.925,95.725,87.125), (96.125,86.925,96.325,87.125), (102.125,86.925,102.325,87.125), (102.725,86.925,102.925,87.125), (103.775,86.925,103.975,87.125), (104.375,86.925,104.575,87.125), (105.425,86.925,105.625,87.125), (106.025,86.925,106.225,87.125), (107.075,86.925,107.275,87.125), (107.675,86.925,107.875,87.125), (108.725,86.925,108.925,87.125), (109.325,86.925,109.525,87.125), (110.375,86.925,110.575,87.125), (110.975,86.925,111.175,87.125), (112.025,86.925,112.225,87.125), (112.625,86.925,112.825,87.125), (113.675,86.925,113.875,87.125), (114.275,86.925,114.475,87.125), (115.325,86.925,115.525,87.125), (115.925,86.925,116.125,87.125), (73.375,86.975,73.575,87.175), (73.975,86.975,74.175,87.175), (75.025,86.975,75.225,87.175), (75.625,86.975,75.825,87.175), (76.675,86.975,76.875,87.175), (77.275,86.975,77.475,87.175), (97.175,86.975,97.375,87.175), (97.775,86.975,97.975,87.175), (98.825,86.975,99.025,87.175), (99.425,86.975,99.625,87.175), (100.475,86.975,100.675,87.175), (101.075,86.975,101.275,87.175), (58.525,87.525,58.725,87.725), (59.125,87.525,59.325,87.725), (60.175,87.525,60.375,87.725), (60.775,87.525,60.975,87.725), (61.825,87.525,62.025,87.725), (62.425,87.525,62.625,87.725), (63.475,87.525,63.675,87.725), (64.075,87.525,64.275,87.725), (65.125,87.525,65.325,87.725), (65.725,87.525,65.925,87.725), (66.775,87.525,66.975,87.725), (67.375,87.525,67.575,87.725), (68.425,87.525,68.625,87.725), (69.025,87.525,69.225,87.725), (70.075,87.525,70.275,87.725), (70.675,87.525,70.875,87.725), (71.725,87.525,71.925,87.725), (72.325,87.525,72.525,87.725), (78.325,87.525,78.525,87.725), (78.925,87.525,79.125,87.725), (79.975,87.525,80.175,87.725), (80.575,87.525,80.775,87.725), (81.625,87.525,81.825,87.725), (82.225,87.525,82.425,87.725), (83.275,87.525,83.475,87.725), (83.875,87.525,84.075,87.725), (90.575,87.525,90.775,87.725), (91.175,87.525,91.375,87.725), (92.225,87.525,92.425,87.725), (92.825,87.525,93.025,87.725), (93.875,87.525,94.075,87.725), (94.475,87.525,94.675,87.725), (95.525,87.525,95.725,87.725), (96.125,87.525,96.325,87.725), (102.125,87.525,102.325,87.725), (102.725,87.525,102.925,87.725), (103.775,87.525,103.975,87.725), (104.375,87.525,104.575,87.725), (105.425,87.525,105.625,87.725), (106.025,87.525,106.225,87.725), (107.075,87.525,107.275,87.725), (107.675,87.525,107.875,87.725), (108.725,87.525,108.925,87.725), (109.325,87.525,109.525,87.725), (110.375,87.525,110.575,87.725), (110.975,87.525,111.175,87.725), (112.025,87.525,112.225,87.725), (112.625,87.525,112.825,87.725), (113.675,87.525,113.875,87.725), (114.275,87.525,114.475,87.725), (115.325,87.525,115.525,87.725), (115.925,87.525,116.125,87.725), (73.375,87.575,73.575,87.775), (73.975,87.575,74.175,87.775), (75.025,87.575,75.225,87.775), (75.625,87.575,75.825,87.775), (76.675,87.575,76.875,87.775), (77.275,87.575,77.475,87.775), (97.175,87.575,97.375,87.775), (97.775,87.575,97.975,87.775), (98.825,87.575,99.025,87.775), (99.425,87.575,99.625,87.775), (100.475,87.575,100.675,87.775), (101.075,87.575,101.275,87.775)])
R(esd, met4, [(85.9,57.35,88.75,69.4), (58.3,60.1,85.45,61.7), (89.2,60.1,116.35,61.7), (85.9,79.1,88.75,91.15), (58.3,86.7,85.45,88.3), (89.2,86.7,116.35,88.3)])
A(esd, via4, 58.65, 60.55, 0.8, 0.8, 16, 2, 1.65, 26.5)
A(esd, via4, 90.45, 60.55, 0.8, 0.8, 16, 2, 1.65, 26.5)
R(esd, met5, [(58.3,60.1,116.35,61.7), (58.3,86.7,116.35,88.3)])
R(esd, rpm, [(85.7,71,88.95,77.5)])
R(esd, nsdm, [(58.715,62.18,85.055,67.43), (89.595,62.18,115.935,67.43), (58.205,80.055,85.565,80.475), (89.085,80.055,116.445,80.475), (58.205,80.475,58.625,86.365), (85.145,80.475,85.565,86.365), (89.085,80.475,89.505,86.365), (116.025,80.475,116.445,86.365), (58.205,86.365,85.565,86.785), (89.085,86.365,116.445,86.785)])
R(esd, psdm, [(58.205,61.62,85.565,62.04), (89.085,61.62,116.445,62.04), (58.205,62.04,58.625,67.88), (85.145,62.04,85.565,67.88), (89.085,62.04,89.505,67.88), (116.025,62.04,116.445,67.88), (58.205,67.88,85.565,68.3), (89.085,67.88,116.445,68.3), (85.79,71.09,88.86,77.41), (58.715,80.975,85.055,86.225), (89.595,80.975,115.935,86.225)])
A(esd, npc, 59.275, 67.395, 0.71, 0.37, 20, 2, 1.29, 13.2)
A(esd, npc, 90.155, 67.395, 0.71, 0.37, 20, 2, 1.29, 13.2)
R(esd, npc, [(85.805,71.105,88.845,77.395)])
R(esd, lvtn, [(58.95,62.125,84.82,67.485), (89.83,62.125,115.7,67.485), (58.95,80.92,84.82,86.28), (89.83,80.92,115.7,86.28)])
esd.add(gdstk.Label('out', (87.25,90.75), layer=71, texttype=16))
esd.add(gdstk.Label('in', (87.25,58), layer=71, texttype=16))
esd.add(gdstk.Label('VDD', (84.95,88.15), layer=72, texttype=16))
esd.add(gdstk.Label('GND', (85.45,60.2), layer=72, texttype=16))

lib.write_gds('esd.gds')
